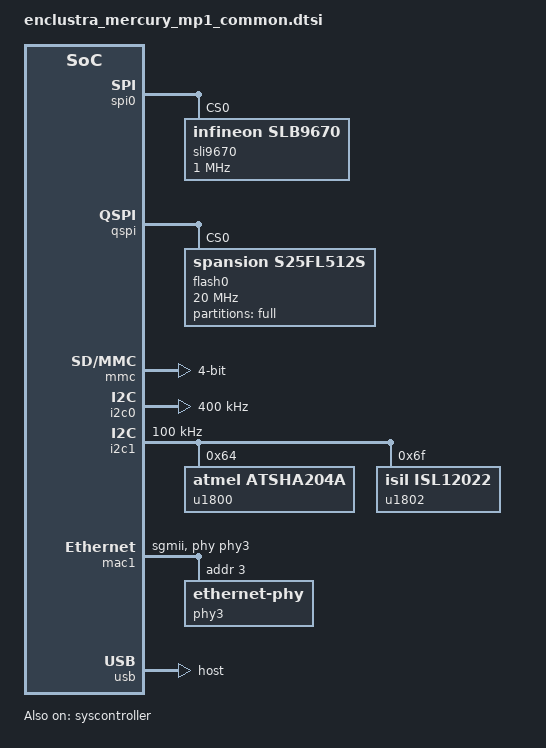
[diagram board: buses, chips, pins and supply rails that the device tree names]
// SPDX-License-Identifier: (GPL-2.0+ OR MIT)
/*
 * Copyright (C) 2025 Enclustra GmbH
 * <info@enclustra.com>
 */

#include "mpfs.dtsi"

/* Clock frequency (in Hz) of the rtcclk */
#define RTCCLK_FREQ		1000000

/ {
	compatible = "microchip,mpfs";

	aliases {
		serial0 = &mmuart1;
		spi0 = &qspi;
	};

	chosen {
		stdout-path = "serial0:115200n8";
	};

	cpus {
		timebase-frequency = <RTCCLK_FREQ>;
	};

	soc {
		/* Note that label is called uart1 in U-Boot devicetree
		   but mmuart1 in kernel devicetree */
		mmuart1: serial@20100000 {
			status = "okay";
		};
	};
};

&spi0 {
	status = "okay";
	num-chipselects = <1>;

	sli9670: sli9670@0 {
		compatible = "infineon,slb9670", "tcg,tpm_tis-spi";
		reg = <0>;
		spi-max-frequency = <1000000>;
	};
};

&qspi {
	status = "okay";
	num-cs = <1>;

	flash0: spi-nand@0 {
		#address-cells = <0x1>;
		#size-cells = <0x1>;
		compatible = "spansion,s25fl512s", "jedec,spi-nor";
		reg = <0x0>;

		spi-tx-bus-width = <4>;
		spi-rx-bus-width = <4>;
		spi-max-frequency = <20000000>;

		partition@full {
			label = "full";
			reg = <0x0 0x4000000>;
		};
	};
};

&mmc {
	status = "okay";
	disable-wp;

	/* SD card */
	bus-width = <4>;
	no-1-8-v;
	cap-sd-highspeed;
	card-detect-delay = <200>;

	/* eMMC */
/*
	bus-width = <8>;
	non-removable;
	cap-mmc-highspeed;
	no-1-8-v;
*/
};

/* FPGA Fabric I2C - this I2C bus is connected to the MSS I2C bus on hardware */
&i2c0 {
	status = "okay";
	clock-frequency = <400000>;
};

/* MSS I2C */
&i2c1 {
	status = "okay";
	clock-frequency = <100000>;

	u1800: atsha204a@64 {
		status = "okay";
		compatible = "atmel,atsha204a";
		reg = <0x64>;
	};

	u1802: isl12022@6f {
		status = "okay";
		compatible = "isil,isl12022";
		reg = <0x6f>;
	};
};

&mac1 {
	status = "okay";
	/delete-property/ mac-address;
	/delete-property/ local-mac-address;
	phy-mode = "sgmii";
	phy-handle = <&phy3>;

	phy3: ethernet-phy@3 {
		reg = <3>;
	};
};

&usb {
	dr_mode = "host";
	status = "okay";
};

&gpio0 {
	status = "okay";
	ngpios = <14>;
	interrupts = <13 14 15 16 17 18 19 20 21 22 23 24 25 26>;
};

&gpio1 {
	status = "okay";
	ngpios = <24>;
	interrupts = <27 28 29 30 31 32 33 34 35 36 37 38 39 40 41 42 43 44 45 46 47 48 49 50>;
};

&refclk {
	clock-frequency = <125000000>;
};

&syscontroller {
	status = "okay";
};

&mbox {
	status = "okay";
};
